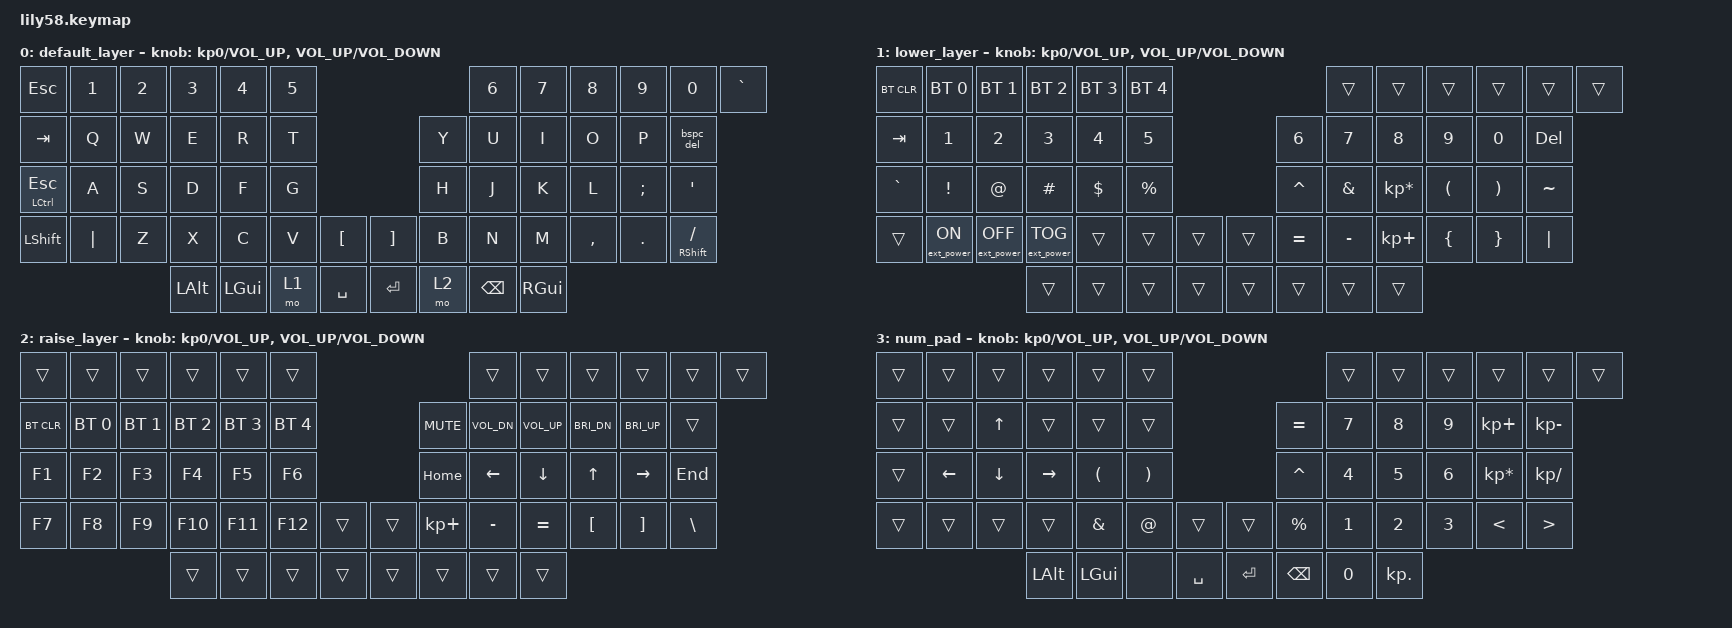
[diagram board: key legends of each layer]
/*
 * Copyright (c) 2020 The ZMK Contributors
 *
 * SPDX-License-Identifier: MIT
 */

#include <behaviors.dtsi>
#include <dt-bindings/zmk/keys.h>
#include <dt-bindings/zmk/bt.h>
#include <dt-bindings/zmk/ext_power.h>

/ {
    &left_encoder {
        resolution = <1>;
    };

    &right_encoder {
        resolution = <1>;
    };

    behaviors {
        bspc_del: backspace_delete {
            compatible = "zmk,behavior-mod-morph";
            label = "BACKSPACE_DELETE";
            #binding-cells = <0>;
            bindings =
                <&kp BACKSPACE>,
                <&kp DELETE>;

            mods = <(MOD_LSFT|MOD_RSFT)>;
            keep-mods = <(MOD_RSFT)>;
        };
    };

    combos {
        compatible = "zmk,combos";

        go_to_num_pad_layer {
            bindings = <&tog 3>;
            key-positions = <26 25 52>;
        };

        slash {
            bindings = <&kp KP_SLASH>;
            key-positions = <44 31>;
        };

        back_slash {
            bindings = <&kp BACKSLASH>;
            key-positions = <41 28>;
        };

        left_bracket {
            bindings = <&kp LEFT_BRACKET>;
            key-positions = <16 17>;
        };

        right_bracket {
            bindings = <&kp RIGHT_BRACKET>;
            key-positions = <18 19>;
        };

        left_parenthesis {
            bindings = <&kp LEFT_PARENTHESIS>;
            key-positions = <28 29>;
        };

        right_parenthesis {
            bindings = <&kp RIGHT_PARENTHESIS>;
            key-positions = <30 31>;
        };

        left_brace {
            bindings = <&kp LEFT_BRACE>;
            key-positions = <40 41>;
        };

        right_brace {
            bindings = <&kp RIGHT_BRACE>;
            key-positions = <44 45>;
        };

        pipe {
            bindings = <&kp PIPE>;
            key-positions = <17 18>;
        };

        minus {
            bindings = <&kp MINUS>;
            key-positions = <30 29>;
        };

        underscore {
            bindings = <&kp UNDERSCORE>;
            key-positions = <41 44>;
        };
    };

    keymap {
        compatible = "zmk,keymap";

        default_layer {
            // ------------------------------------------------------------------------------------------------------------
            // |  ESC  |  1  |  2  |  3   |  4   |  5   |                   |  6   |  7    |  8    |  9   |   0   |   `   |
            // |  TAB  |  Q  |  W  |  E   |  R   |  T   |                   |  Y   |  U    |  I    |  O   |   P   |   -   |
            // |  CTRL |  A  |  S  |  D   |  F   |  G   |                   |  H   |  J    |  K    |  L   |   ;   |   '   |
            // | SHIFT |  Z  |  X  |  C   |  V   |  B   |   "["  |  |  "]"  |  N   |  M    |  ,    |  .   |   /   |  ESC  |
            //                     | ALT  | GUI  | LOWER|  SPACE |  | ENTER | RAISE| BSPC  | GUI   |

            bindings = <
      &kp ESC    &kp N1  &kp N2    &kp N3    &kp N4  &kp N5                       &kp N6    &kp N7    &kp N8     &kp N9    &kp N0              &kp GRAVE
      &kp TAB     &kp Q   &kp W     &kp E     &kp R   &kp T                        &kp Y     &kp U     &kp I      &kp O     &kp P              &bspc_del
&mt LCTRL ESC     &kp A   &kp S     &kp D     &kp F   &kp G                        &kp H     &kp J     &kp K      &kp L  &kp SEMI                &kp SQT
    &kp LSHFT  &kp PIPE   &kp Z     &kp X     &kp C   &kp V   &kp LBKT  &kp RBKT   &kp B     &kp N     &kp M  &kp COMMA   &kp DOT  &mt RIGHT_SHIFT SLASH
                                 &kp LALT  &kp LGUI   &mo 1  &kp SPACE   &kp RET   &mo 2  &kp BSPC  &kp RGUI
            >;

            sensor-bindings = <&inc_dec_kp KP_N0 K_VOLUME_UP &inc_dec_kp C_VOLUME_UP C_VOLUME_DOWN>;
        };

        lower_layer {
            // ------------------------------------------------------------------------------------------------------------
            // | BTCLR | BT1 | BT2 |  BT3 |  BT4 |  BT5 |                   |      |       |       |      |       |       |
            // |  F1   |  F2 |  F3 |  F4  |  F5  |  F6  |                   |  F7  |  F8   |  F9   |  F10 |  F11  |  F12  |
            // |   `   |  !  |  @  |  #   |  $   |  %   |                   |  ^   |  &    |  *    |  (   |   )   |   ~   |
            // |       |     |     |      |      |      |        |  |       |      |  _    |  +    |  {   |   }   |  "|"  |
            //                     |      |      |      |        |  |       |      |       |       |

            bindings = <
&bt BT_CLR      &bt BT_SEL 0       &bt BT_SEL 1       &bt BT_SEL 2  &bt BT_SEL 3  &bt BT_SEL 4                     &trans     &trans           &trans    &trans    &trans     &trans
   &kp TAB            &kp N1             &kp N2             &kp N3        &kp N4        &kp N5                     &kp N6     &kp N7           &kp N8    &kp N9    &kp N0    &kp DEL
 &kp GRAVE          &kp EXCL             &kp AT           &kp HASH    &kp DOLLAR     &kp PRCNT                  &kp CARET   &kp AMPS  &kp KP_MULTIPLY  &kp LPAR  &kp RPAR  &kp TILDE
    &trans  &ext_power EP_ON  &ext_power EP_OFF  &ext_power EP_TOG        &trans        &trans  &trans  &trans  &kp EQUAL  &kp MINUS      &kp KP_PLUS  &kp LBRC  &kp RBRC   &kp PIPE
                                                            &trans        &trans        &trans  &trans  &trans     &trans     &trans           &trans
            >;

            sensor-bindings = <&inc_dec_kp KP_N0 K_VOLUME_UP &inc_dec_kp C_VOLUME_UP C_VOLUME_DOWN>;
        };

        raise_layer {
            // ------------------------------------------------------------------------------------------------------------
            // |       |     |     |      |      |      |                   |      |       |       |      |       |       |
            // |   `   |  1  |  2  |  3   |  4   |  5   |                   |  6   |   7   |   8   |  9   |   0   |       |
            // |   F1  |  F2 |  F3 |  F4  |  F5  |  F6  |                   |      |   <-  |   v   |  ^   |  ->   |       |
            // |   F7  |  F8 |  F9 |  F10 |  F11 |  F12 |        |  |       |  +   |   -   |   =   |  [   |   ]   |   \   |
            //                     |      |      |      |        |  |       |      |       |       |

            bindings = <
    &trans        &trans        &trans        &trans        &trans        &trans                       &trans        &trans        &trans        &trans        &trans    &trans
&bt BT_CLR  &bt BT_SEL 0  &bt BT_SEL 1  &bt BT_SEL 2  &bt BT_SEL 3  &bt BT_SEL 4                   &kp C_MUTE  &kp C_VOL_DN  &kp C_VOL_UP  &kp C_BRI_DN  &kp C_BRI_UP    &trans
    &kp F1        &kp F2        &kp F3        &kp F4        &kp F5        &kp F6                     &kp HOME      &kp LEFT      &kp DOWN        &kp UP     &kp RIGHT   &kp END
    &kp F7        &kp F8        &kp F9       &kp F10       &kp F11       &kp F12  &trans  &trans  &kp KP_PLUS     &kp MINUS     &kp EQUAL      &kp LBKT      &kp RBKT  &kp BSLH
                                              &trans        &trans        &trans  &trans  &trans       &trans        &trans        &trans
            >;

            sensor-bindings = <&inc_dec_kp KP_N0 K_VOLUME_UP &inc_dec_kp C_VOLUME_UP C_VOLUME_DOWN>;
        };

        num_pad {
            bindings = <
&trans    &trans    &trans        &trans                &trans                 &trans                               &trans  &trans      &trans  &trans           &trans            &trans
&trans    &trans    &kp UP        &trans                &trans                 &trans                            &kp EQUAL  &kp N7      &kp N8  &kp N9      &kp KP_PLUS      &kp KP_MINUS
&trans  &kp LEFT  &kp DOWN     &kp RIGHT  &kp LEFT_PARENTHESIS  &kp RIGHT_PARENTHESIS                            &kp CARET  &kp N4      &kp N5  &kp N6  &kp KP_MULTIPLY     &kp KP_DIVIDE
&trans    &trans    &trans        &trans              &kp AMPS                 &kp AT     &trans     &trans    &kp PERCENT  &kp N1      &kp N2  &kp N3    &kp LESS_THAN  &kp GREATER_THAN
                            &kp LEFT_ALT              &kp LGUI                  &none  &kp SPACE  &kp ENTER  &kp BACKSPACE  &kp N0  &kp KP_DOT
            >;

            sensor-bindings = <&inc_dec_kp KP_N0 K_VOLUME_UP &inc_dec_kp C_VOLUME_UP C_VOLUME_DOWN>;
        };
    };
};
